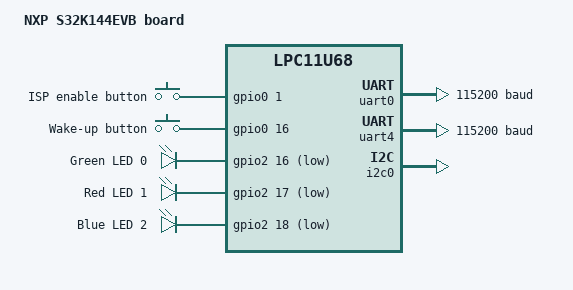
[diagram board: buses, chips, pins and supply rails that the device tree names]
/*
 * Copyright (c) 2021 Dung Tran
 *
 * SPDX-License-Identifier: Apache-2.0
 */

/dts-v1/;

#include <nxp/nxp_lpc11u68.dtsi>
#include <dt-bindings/pinctrl/lpc11u6x-pinctrl.h>

/ {
	model = "NXP S32K144EVB board";
	compatible = "nxp,s32k144";
	chosen {
		zephyr,sram = &sram0;
		zephyr,flash = &flash0;
		zephyr,console = &uart4;
	};

	/* These aliases are provided for compatibility with samples. */
	aliases {
		led0 = &led0;
		led1 = &led1;
		led2 = &led2;
		sw0 = &isp_button;
		sw1 = &wake_up_button;
		eeprom-0 = &eeprom0;
	};

	gpio_keys {
		compatible = "gpio-keys";
		isp_button: button_0 {
			gpios = <&gpio0 1 GPIO_ACTIVE_HIGH>;
			label = "ISP enable button";
		};
		wake_up_button: button_1 {
			gpios = <&gpio0 16 GPIO_ACTIVE_HIGH>;
			label = "Wake-up button";
		};
	};

	leds {
		compatible = "gpio-leds";
		led0: led_0 {
			gpios = <&gpio2 16 GPIO_ACTIVE_LOW>;
			label = "Green LED 0";
		};
		led1: led_1 {
			gpios = <&gpio2 17 GPIO_ACTIVE_LOW>;
			label = "Red LED 1";
		};
		led2: led_2 {
			gpios = <&gpio2 18 GPIO_ACTIVE_LOW>;
			label = "Blue LED 2";
		};
	};
};

&uart0 {
	pinmuxs = <&pinmux1 26 IOCON_FUNC2>, <&pinmux1 27 IOCON_FUNC2>;
	pinmux-names = "RXD", "TXD";
	current-speed = <115200>;
	status = "okay";
};

arduino_serial: &uart4 {
	pinmuxs = <&pinmux2 11 IOCON_FUNC1>, <&pinmux2 12 IOCON_FUNC1>;
	pinmux-names = "RXD", "TXD";
	current-speed = <115200>;
	status = "okay";
};

arduino_i2c: &i2c0 {
	pinmuxs = <&pinmux0 4 IOCON_FUNC1>,
	<&pinmux0 5 IOCON_FUNC1>;
	pinmux-names = "SCL", "SDA";
	status = "okay";
};

&cpu0 {
	clock-frequency = <48000000>;
};

&gpio0 {
	status = "okay";
};

&gpio1 {
	status = "okay";
};

&gpio2 {
	status = "okay";
};
